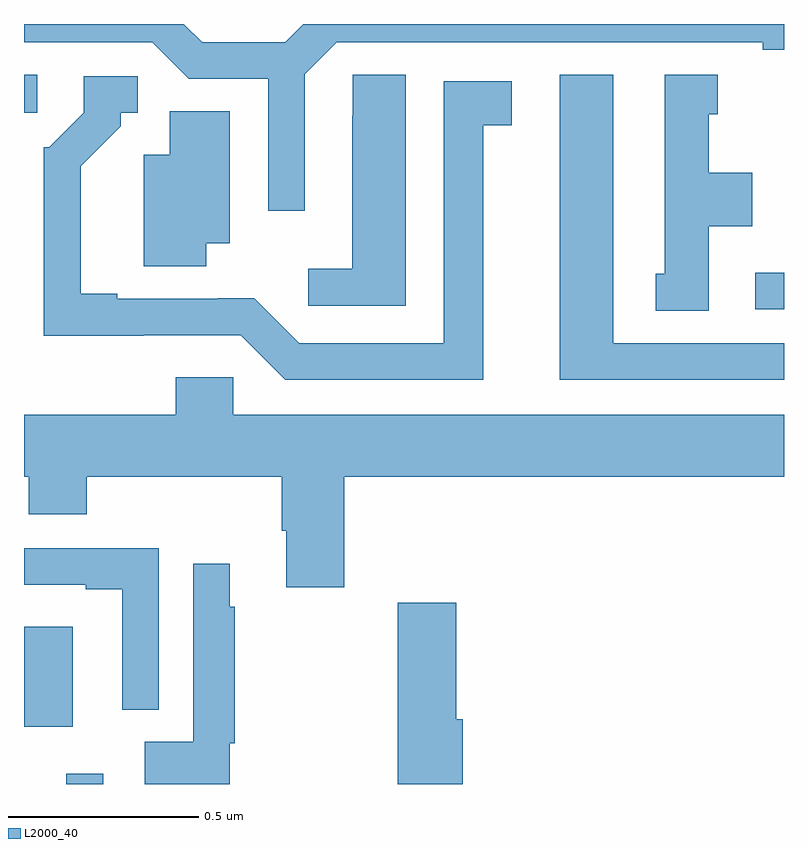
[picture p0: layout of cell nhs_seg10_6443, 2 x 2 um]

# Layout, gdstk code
import gdstk
lib = gdstk.Library(unit=1e-6, precision=1e-09)
def R(c, l, rs):  # rectangles x0, y0, x1, y1
    for r in rs: c.add(gdstk.rectangle(r[:2], r[2:], *l))
def P(c, l, *ps):  # polygons
    for p in ps: c.add(gdstk.Polygon(p, *l))
L2000_40 = (2000, 40)

nhs_seg10_6443 = lib.new_cell('nhs_seg10_6443')
R(nhs_seg10_6443, L2000_40, [(191.111,1307.5,191.208,1307.527), (191,1307.651,191.128,1307.914), (192.924,1308.75,193,1308.846), (191,1309.266,191.035,1309.367)])
P(nhs_seg10_6443, L2000_40, [(191.739,1309.368),(191.823,1309.452),(192.944,1309.452),(192.944,1309.432),(193,1309.432),(193,1309.5),(191.735,1309.5),(191.687,1309.452),(191.469,1309.452),(191.421,1309.5),(191,1309.5),(191,1309.452),(191.337,1309.452),(191.433,1309.356),(191.643,1309.356),(191.643,1309.008),(191.739,1309.008)],
  [(192.004,1309.367),(191.865,1309.367),(191.865,1309.259),(191.864,1309.259),(191.864,1308.856),(191.748,1308.856),(191.748,1308.759),(192.004,1308.759)],
  [(192.802,1308.968),(192.916,1308.968),(192.916,1309.108),(192.802,1309.108),(192.802,1309.263),(192.826,1309.263),(192.826,1309.366),(192.686,1309.366),(192.686,1308.843),(192.662,1308.843),(192.662,1308.745),(192.802,1308.745)],
  [(193,1308.66),(192.55,1308.66),(192.55,1309.366),(192.41,1309.366),(192.41,1308.564),(193,1308.564)],
  [(192.208,1309.234),(192.283,1309.234),(192.283,1309.35),(192.104,1309.35),(192.104,1308.66),(191.724,1308.66),(191.606,1308.778),(191.51,1308.778),(191.51,1308.777),(191.245,1308.777),(191.245,1308.79),(191.149,1308.79),(191.149,1309.126),(191.254,1309.231),(191.254,1309.266),(191.299,1309.266),(191.299,1309.362),(191.157,1309.362),(191.157,1309.266),(191.067,1309.176),(191.052,1309.176),(191.052,1308.68),(191.315,1308.68),(191.315,1308.681),(191.571,1308.681),(191.688,1308.564),(192.208,1308.564)],
  [(191.479,1308.923),(191.542,1308.923),(191.542,1309.271),(191.384,1309.271),(191.384,1309.156),(191.315,1309.156),(191.315,1308.862),(191.479,1308.862)],
  [(191.843,1308.308),(193,1308.308),(193,1308.472),(191.55,1308.472),(191.55,1308.57),(191.399,1308.57),(191.399,1308.472),(191,1308.472),(191,1308.308),(191.013,1308.308),(191.013,1308.21),(191.165,1308.21),(191.165,1308.308),(191.678,1308.308),(191.678,1308.166),(191.69,1308.166),(191.69,1308.018),(191.843,1308.018)],
  [(191.355,1308.12),(191,1308.12),(191,1308.024),(191.162,1308.024),(191.162,1308.012),(191.258,1308.012),(191.258,1307.696),(191.355,1307.696)],
  [(191.542,1307.607),(191.554,1307.607),(191.554,1307.966),(191.542,1307.966),(191.542,1308.079),(191.445,1308.079),(191.445,1307.611),(191.318,1307.611),(191.318,1307.5),(191.542,1307.5)],
  [(192.155,1307.67),(192.137,1307.67),(192.137,1307.977),(191.983,1307.977),(191.983,1307.67),(191.984,1307.67),(191.984,1307.5),(192.155,1307.5)])

lib.write_gds('nhs_seg10_6443.gds')
